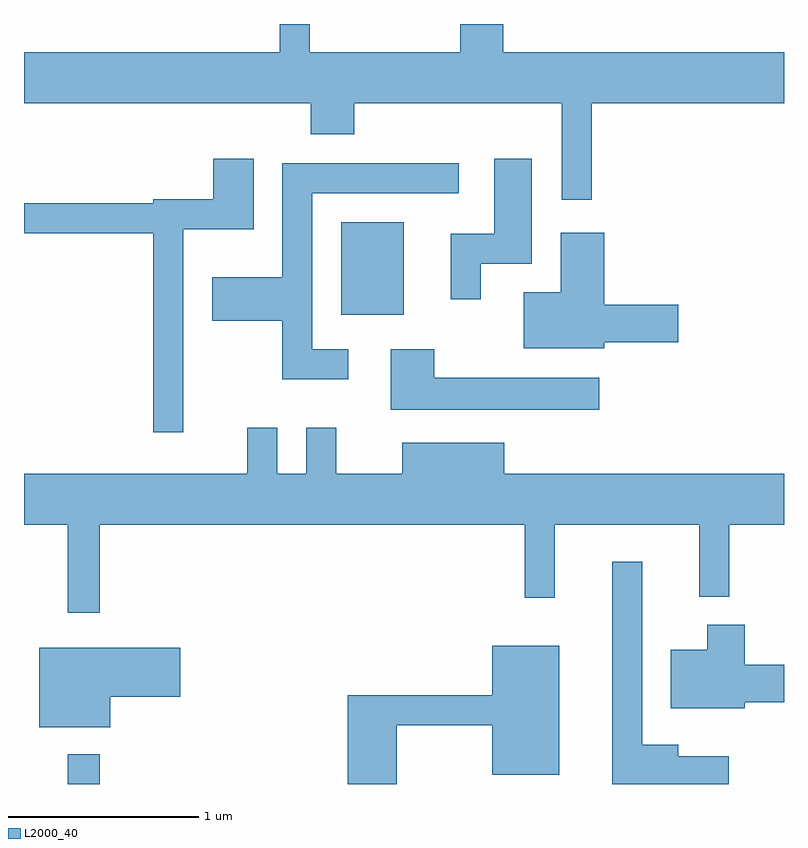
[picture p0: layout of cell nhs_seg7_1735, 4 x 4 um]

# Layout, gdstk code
import gdstk
lib = gdstk.Library(unit=1e-6, precision=1e-09)
def R(c, l, rs):  # rectangles x0, y0, x1, y1
    for r in rs: c.add(gdstk.rectangle(r[:2], r[2:], *l))
def P(c, l, *ps):  # polygons
    for p in ps: c.add(gdstk.Polygon(p, *l))
L2000_40 = (2000, 40)

nhs_seg7_1735 = lib.new_cell('nhs_seg7_1735')
R(nhs_seg7_1735, L2000_40, [(237.841,1746.252,238.009,1746.408), (239.281,1748.721,239.609,1749.209)])
P(nhs_seg7_1735, L2000_40, [(240.599,1749.836),(241.611,1749.836),(241.611,1750.104),(240.134,1750.104),(240.134,1750.252),(239.906,1750.252),(239.906,1750.104),(239.114,1750.104),(239.114,1750.252),(238.956,1750.252),(238.956,1750.104),(237.611,1750.104),(237.611,1749.836),(239.121,1749.836),(239.121,1749.671),(239.349,1749.671),(239.349,1749.836),(240.441,1749.836),(240.441,1749.328),(240.599,1749.328)],
  [(240.014,1748.991),(240.284,1748.991),(240.284,1749.544),(240.086,1749.544),(240.086,1749.149),(239.856,1749.149),(239.856,1748.803),(240.014,1748.803)],
  [(238.449,1749.171),(238.819,1749.171),(238.819,1749.544),(238.606,1749.544),(238.606,1749.329),(238.291,1749.329),(238.291,1749.309),(237.611,1749.309),(237.611,1749.151),(238.291,1749.151),(238.291,1748.103),(238.449,1748.103)],
  [(239.318,1748.539),(239.129,1748.539),(239.129,1749.361),(239.898,1749.361),(239.898,1749.519),(238.971,1749.519),(238.971,1748.919),(238.601,1748.919),(238.601,1748.691),(238.971,1748.691),(238.971,1748.381),(239.318,1748.381)],
  [(240.664,1748.576),(241.054,1748.576),(241.054,1748.774),(240.664,1748.774),(240.664,1749.154),(240.436,1749.154),(240.436,1748.839),(240.241,1748.839),(240.241,1748.546),(240.664,1748.546)],
  [(240.638,1748.389),(239.769,1748.389),(239.769,1748.539),(239.541,1748.539),(239.541,1748.221),(240.638,1748.221)],
  [(238.009,1747.616),(240.246,1747.616),(240.246,1747.233),(240.404,1747.233),(240.404,1747.616),(241.166,1747.616),(241.166,1747.238),(241.324,1747.238),(241.324,1747.616),(241.611,1747.616),(241.611,1747.884),(240.139,1747.884),(240.139,1748.049),(239.601,1748.049),(239.601,1747.884),(239.254,1747.884),(239.254,1748.128),(239.096,1748.128),(239.096,1747.884),(238.944,1747.884),(238.944,1748.128),(238.786,1748.128),(238.786,1747.884),(237.611,1747.884),(237.611,1747.616),(237.841,1747.616),(237.841,1747.153),(238.009,1747.153)],
  [(241.319,1746.399),(241.054,1746.399),(241.054,1746.459),(240.864,1746.459),(240.864,1747.423),(240.706,1747.423),(240.706,1746.252),(241.319,1746.252)],
  [(241.404,1746.681),(241.611,1746.681),(241.611,1746.879),(241.404,1746.879),(241.404,1747.089),(241.206,1747.089),(241.206,1746.959),(241.016,1746.959),(241.016,1746.651),(241.404,1746.651)],
  [(239.574,1746.561),(240.076,1746.561),(240.076,1746.301),(240.429,1746.301),(240.429,1746.979),(240.076,1746.979),(240.076,1746.719),(239.316,1746.719),(239.316,1746.252),(239.574,1746.252)],
  [(238.064,1746.711),(238.434,1746.711),(238.434,1746.969),(237.691,1746.969),(237.691,1746.551),(238.064,1746.551)])

lib.write_gds('nhs_seg7_1735.gds')
